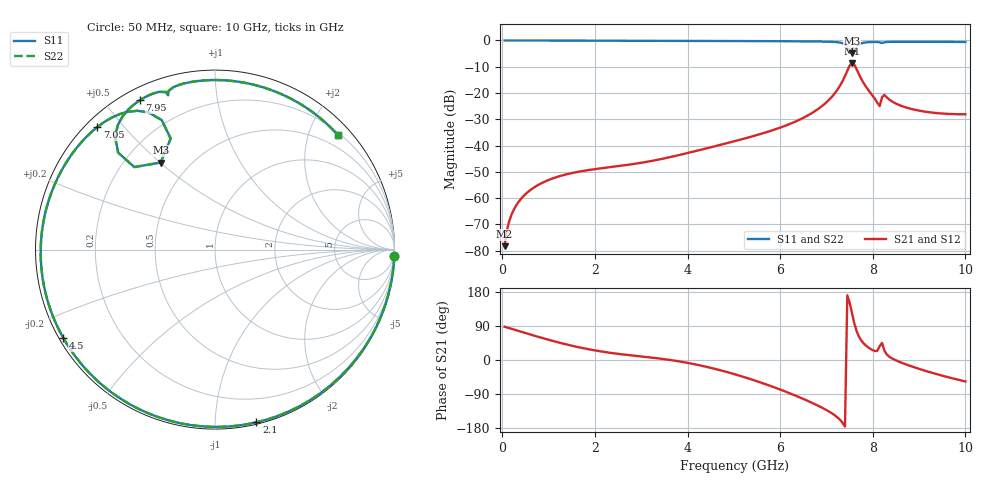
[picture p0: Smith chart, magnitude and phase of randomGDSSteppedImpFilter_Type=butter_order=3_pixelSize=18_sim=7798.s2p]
! freq	dB(S11)	phase(S11)	dB(S12)	phase(S12)
!  dB(S21)	phase(S21)	dB(S22)	phase(S22)
!S-par simulation data
#  GHz  S  DB  R 50
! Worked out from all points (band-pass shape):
!   200 points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, 50 MHz to 10 GHz, reference 50 ohm
!   highest |S21| = -8.57 dB at 7.55 GHz (marker M1); lowest = -78.3 dB at 50 MHz (marker M2)
!   |S21| within 3 dB of the highest: 7.449 GHz to 7.667 GHz (218.1 MHz wide, 2.89 % of centre)
!   lowest |S11| = -4.9 dB at 7.55 GHz (marker M3), VSWR 3.67, Z = 17.4 + j25.1 ohm
!   |S11| at or under -10 dB: nowhere
!   |S22| runs from -4.9 to 0.0 dB; largest |S21 - S12| = 0
!   S11 on the Smith chart (normalised r, x): 50 MHz: 0, -59; 2.1 GHz: 0.01, -1.27; 4.5 GHz: 0.01, -0.27; 7.05 GHz: 0.03, +0.43; 7.95 GHz: 0.05, +0.62; 10 GHz: 0.24, +2.51
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0.05  -0.00 -1.9  -78.30 87.8  -78.30 87.8  -0.00 -1.9
0.1  -0.00 -3.9  -72.27 86.0  -72.27 86.0  -0.00 -3.9
0.2  -0.01 -7.7  -66.28 82.3  -66.28 82.3  -0.01 -7.7
0.5  -0.02 -19.0  -58.51 71.1  -58.51 71.1  -0.02 -19.0
1  -0.05 -37.7  -53.10 53.3  -53.10 53.3  -0.05 -37.7
1.75  -0.08 -64.6  -49.64 31.1  -49.64 31.1  -0.08 -64.6
2.1  -0.09 -76.5  -48.73 23.2  -48.73 23.2  -0.09 -76.5
3.4  -0.14 -117.8  -45.24 3.8  -45.24 3.8  -0.14 -117.8
4.5  -0.19 -149.8  -40.67 -20.7  -40.67 -20.7  -0.19 -149.8
5.05  -0.22 -165.3  -38.18 -38.7  -38.18 -38.7  -0.22 -165.3
5.9  -0.28 170.4  -33.79 -73.3  -33.79 -73.3  -0.28 170.5
6.7  -0.37 146.1  -27.48 -113.6  -27.48 -113.6  -0.37 146.2
7.05  -0.48 133.9  -22.69 -135.6  -22.69 -135.6  -0.48 133.9
7.4  -1.43 115.8  -13.55 -175.7  -13.55 -175.7  -1.43 115.8
7.55  -4.86 122.0  -8.57 124.8  -8.57 124.8  -4.85 122.0
7.7  -1.52 131.5  -12.82 62.0  -12.82 62.0  -1.52 131.6
7.95  -0.62 116.6  -19.94 29.3  -19.94 29.3  -0.62 116.7
8.15  -0.73 107.3  -24.95 36.8  -24.95 36.8  -0.72 107.4
8.25  -0.72 106.3  -20.75 25.3  -20.75 25.3  -0.71 106.4
8.35  -0.54 102.2  -22.39 9.3  -22.39 9.3  -0.54 102.2
9.15  -0.51 73.1  -27.15 -29.1  -27.15 -29.1  -0.51 73.1
10  -0.57 43.1  -28.10 -56.7  -28.10 -56.7  -0.57 43.1
